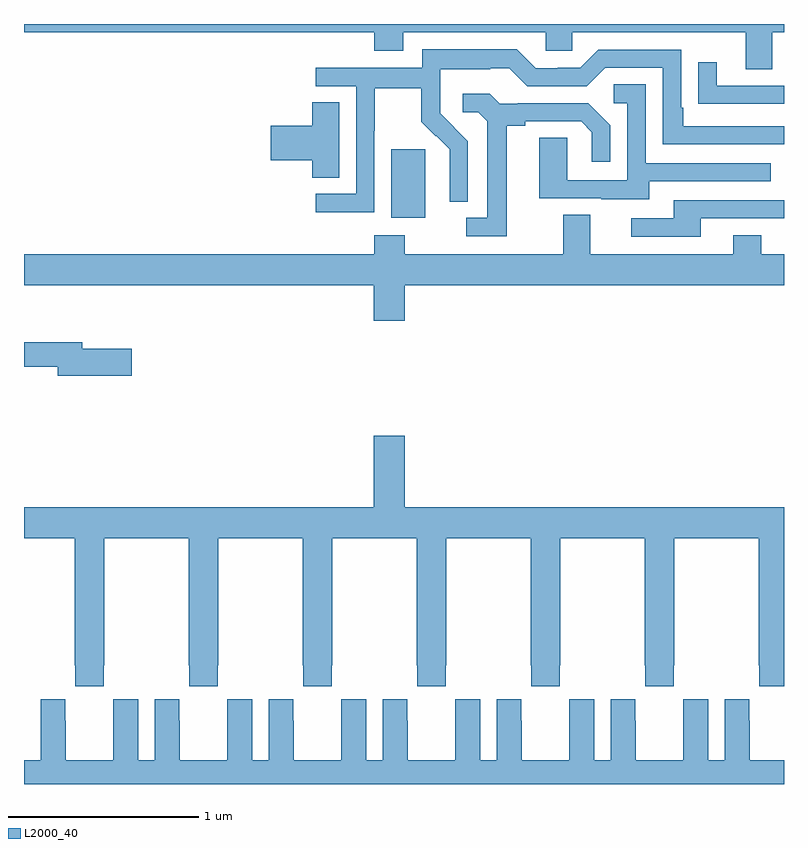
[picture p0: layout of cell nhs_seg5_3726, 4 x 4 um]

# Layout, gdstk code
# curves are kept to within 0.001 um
import gdstk
lib = gdstk.Library(unit=1e-6, precision=1e-09)
def R(c, l, rs):  # rectangles x0, y0, x1, y1
    for r in rs: c.add(gdstk.rectangle(r[:2], r[2:], *l))
def P(c, l, *ps):  # polygons
    for p in ps: c.add(gdstk.Polygon(p, *l))
L2000_40 = (2000, 40)

nhs_seg5_3726 = lib.new_cell('nhs_seg5_3726')
R(nhs_seg5_3726, L2000_40, [(332.933,859.778,333.112,860.139)])
P(nhs_seg5_3726, L2000_40, [(334.939,860.756),(335,860.756),(335,860.799),(331,860.799),(331,860.756),(332.843,860.756),(332.843,860.657),(332.995,860.657),(332.995,860.756),(333.747,860.756),(333.747,860.658),(333.885,860.658),(333.885,860.756),(334.799,860.756),(334.799,860.562),(334.939,860.562)],
  [(332.844,860.236),(332.847,860.236),(332.847,860.46),(333.091,860.46),(333.091,860.285),(333.168,860.208),(333.171,860.211),(333.242,860.141),(333.242,860.018),(333.24,860.018),(333.24,859.864),(333.336,859.864),(333.336,860.182),(333.19,860.33),(333.19,860.427),(333.192,860.427),(333.192,860.561),(333.455,860.561),(333.455,860.565),(333.555,860.565),(333.648,860.472),(333.963,860.472),(334.059,860.568),(334.362,860.568),(334.362,860.166),(335,860.166),(335,860.262),(334.471,860.262),(334.471,860.359),(334.458,860.359),(334.458,860.664),(334.023,860.664),(333.927,860.568),(333.809,860.568),(333.809,860.565),(333.693,860.565),(333.593,860.665),(333.096,860.665),(333.096,860.568),(332.535,860.568),(332.535,860.472),(332.748,860.472),(332.748,859.905),(332.535,859.905),(332.535,859.807),(332.844,859.807)],
  [(335,860.475),(334.645,860.475),(334.645,860.599),(334.549,860.599),(334.549,860.38),(334.651,860.38),(334.651,860.379),(335,860.379)],
  [(334.291,859.971),(334.931,859.971),(334.931,860.067),(334.272,860.067),(334.272,860.483),(334.104,860.483),(334.104,860.382),(334.176,860.382),(334.176,859.977),(333.858,859.977),(333.858,860.201),(333.713,860.201),(333.713,859.881),(334.037,859.881),(334.037,859.877),(334.291,859.877)],
  [(333.541,860.264),(333.637,860.264),(333.637,860.286),(333.932,860.286),(333.989,860.229),(333.989,860.073),(334.086,860.073),(334.086,860.266),(333.97,860.382),(333.598,860.382),(333.598,860.379),(333.504,860.379),(333.452,860.431),(333.309,860.431),(333.309,860.334),(333.39,860.334),(333.437,860.287),(333.437,859.779),(333.327,859.779),(333.327,859.683),(333.541,859.683)],
  [(332.659,860.387),(332.516,860.387),(332.516,860.264),(332.298,860.264),(332.298,860.081),(332.516,860.081),(332.516,859.99),(332.659,859.99)],
  [(334.561,859.776),(335,859.776),(335,859.872),(334.421,859.872),(334.421,859.776),(334.197,859.776),(334.197,859.68),(334.561,859.68)],
  [(333.004,859.424),(335,859.424),(335,859.588),(334.881,859.588),(334.881,859.687),(334.733,859.687),(334.733,859.588),(333.979,859.588),(333.979,859.796),(333.839,859.796),(333.839,859.588),(333.003,859.588),(333.003,859.687),(332.843,859.687),(332.843,859.588),(331,859.588),(331,859.424),(332.84,859.424),(332.84,859.236),(333.004,859.236)],
  [(331.567,859.089),(331.306,859.089),(331.306,859.123),(331,859.123),(331,858.994),(331.178,858.994),(331.178,858.947),(331.567,858.947)],
  [(333.004,858.631),(332.84,858.631),(332.84,858.256),(331,858.256),(331,858.092),(331.267,858.092),(331.267,857.425),(331.269,857.425),(331.269,857.313),(331.419,857.313),(331.419,857.425),(331.422,857.425),(331.422,858.092),(331.867,858.092),(331.867,857.425),(331.869,857.425),(331.869,857.313),(332.019,857.313),(332.019,857.425),(332.022,857.425),(332.022,858.092),(332.467,858.092),(332.467,857.425),(332.469,857.425),(332.469,857.313),(332.619,857.313),(332.619,857.425),(332.622,857.425),(332.622,858.092),(333.067,858.092),(333.067,857.425),(333.069,857.425),(333.069,857.313),(333.219,857.313),(333.219,857.425),(333.222,857.425),(333.222,858.092),(333.667,858.092),(333.667,857.425),(333.669,857.425),(333.669,857.313),(333.819,857.313),(333.819,857.425),(333.822,857.425),(333.822,858.092),(334.267,858.092),(334.267,857.425),(334.269,857.425),(334.269,857.313),(334.419,857.313),(334.419,857.425),(334.422,857.425),(334.422,858.092),(334.867,858.092),(334.867,857.425),(334.869,857.425),(334.869,857.313),(335,857.313),(335,858.256),(333.004,858.256)],
  [(335,856.924),(334.819,856.924),(334.819,857.132),(334.818,857.132),(334.818,857.245),(334.688,857.245),(334.688,856.924),(334.6,856.924),(334.6,857.245),(334.47,857.245),(334.47,857.132),(334.469,857.132),(334.469,856.924),(334.219,856.924),(334.219,857.132),(334.218,857.132),(334.218,857.245),(334.088,857.245),(334.088,856.924),(334,856.924),(334,857.245),(333.87,857.245),(333.87,857.132),(333.869,857.132),(333.869,856.924),(333.619,856.924),(333.619,857.132),(333.618,857.132),(333.618,857.245),(333.488,857.245),(333.488,856.924),(333.4,856.924),(333.4,857.245),(333.27,857.245),(333.27,857.132),(333.269,857.132),(333.269,856.924),(333.019,856.924),(333.019,857.132),(333.018,857.132),(333.018,857.245),(332.888,857.245),(332.888,856.924),(332.8,856.924),(332.8,857.245),(332.67,857.245),(332.67,857.132),(332.669,857.132),(332.669,856.924),(332.419,856.924),(332.419,857.132),(332.418,857.132),(332.418,857.245),(332.288,857.245),(332.288,856.924),(332.2,856.924),(332.2,857.245),(332.07,857.245),(332.07,857.132),(332.069,857.132),(332.069,856.924),(331.819,856.924),(331.819,857.132),(331.818,857.132),(331.818,857.245),(331.688,857.245),(331.688,856.924),(331.6,856.924),(331.6,857.245),(331.47,857.245),(331.47,857.132),(331.469,857.132),(331.469,856.924),(331.219,856.924),(331.219,857.132),(331.218,857.132),(331.218,857.245),(331.088,857.245),(331.088,856.924),(331,856.924),(331,856.799),(335,856.799)])

lib.write_gds('nhs_seg5_3726.gds')
